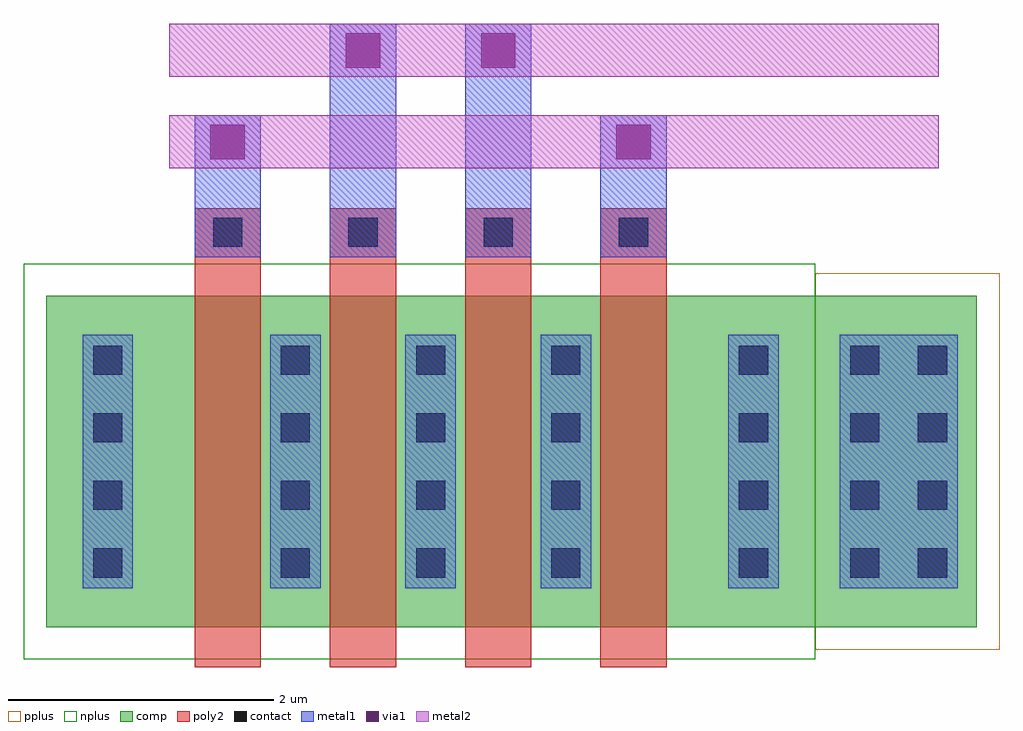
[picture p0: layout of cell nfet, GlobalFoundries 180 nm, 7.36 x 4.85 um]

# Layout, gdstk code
import gdstk
lib = gdstk.Library(unit=1e-6, precision=5e-09)
def R(c, l, rs):  # rectangles x0, y0, x1, y1
    for r in rs: c.add(gdstk.rectangle(r[:2], r[2:], *l))
def A(c, l, x, y, w, h, nx, ny, dx, dy):  # array of equal rectangles
    R(c, l, [(x+i*dx, y+j*dy, x+i*dx+w, y+j*dy+h) for i in range(nx) for j in range(ny)])
comp = (22, 0)
poly2 = (30, 0)
pplus = (31, 0)
nplus = (32, 0)
contact = (33, 0)
metal1 = (34, 0)
via1 = (35, 0)
metal2 = (36, 0)

nfet = lib.new_cell('nfet')
R(nfet, comp, [(-0.93,0,0,2.5), (0,0,3.94,2.5), (3.94,0,4.87,2.5), (4.87,0,6.09,2.5)])
A(nfet, poly2, 0.19, -0.3, 0.5, 3.1, 4, 1, 1.02, 0)
A(nfet, poly2, 0.19, 2.8, 0.5, 0.36, 4, 1, 1.02, 0)
R(nfet, pplus, [(4.87,-0.17,6.26,2.67)])
R(nfet, nplus, [(-1.1,-0.24,4.87,2.74)])
A(nfet, contact, -0.575, 0.375, 0.22, 0.22, 1, 4, 0, 0.51)
A(nfet, contact, 0.84, 0.375, 0.22, 0.22, 3, 4, 1.02, 0.51)
A(nfet, contact, 4.295, 0.375, 0.22, 0.22, 1, 4, 0, 0.51)
A(nfet, contact, 5.135, 0.375, 0.22, 0.22, 1, 4, 0, 0.51)
A(nfet, contact, 5.645, 0.375, 0.22, 0.22, 1, 4, 0, 0.51)
A(nfet, contact, 0.33, 2.87, 0.22, 0.22, 4, 1, 1.02, 0)
A(nfet, metal1, 0.76, 0.295, 0.38, 1.91, 3, 1, 1.02, 0)
A(nfet, metal1, 0.25, 2.79, 0.38, 0.38, 4, 1, 1.02, 0)
R(nfet, metal1, [(-0.655,0.295,-0.275,2.205), (4.215,0.295,4.595,2.205), (5.055,0.295,5.945,2.205), (0.19,2.79,0.69,3.86), (1.21,2.79,1.71,4.55), (2.23,2.79,2.73,4.55), (3.25,2.79,3.75,3.86)])
R(nfet, via1, [(0.31,3.53,0.57,3.79), (3.37,3.53,3.63,3.79), (1.33,4.22,1.59,4.48), (2.35,4.22,2.61,4.48)])
R(nfet, metal2, [(0,3.46,5.8,3.86), (0,4.15,5.8,4.55)])

lib.write_gds('nfet.gds')
